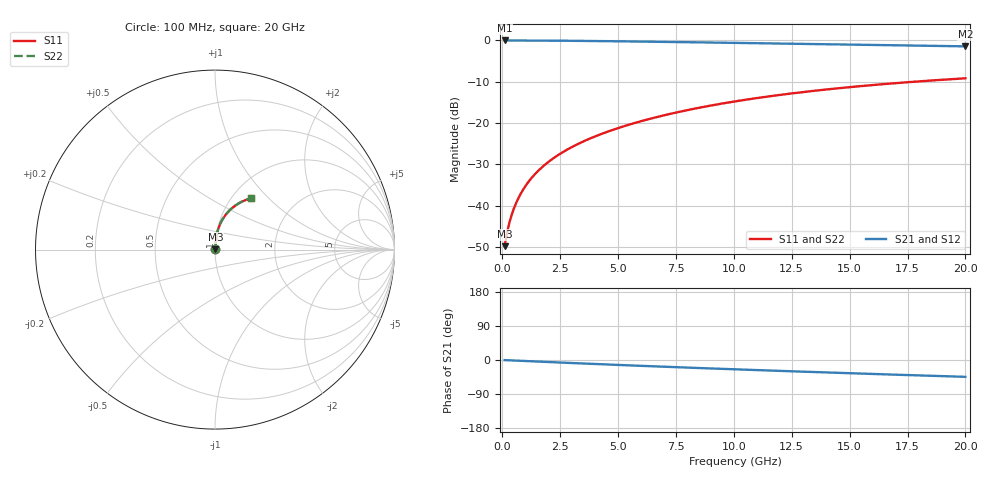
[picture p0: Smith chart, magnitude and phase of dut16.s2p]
! Touchstone file exported from HFSS 2024.1.0
!  File:  C:/UserFiles/LocalFiles/RDL_TSV_Batchsim/temp_RDL_bottom_16_1778691475.aedt
!  Generated:  01:00:31 AM May 14, 2026
!  Design:  RDL_bottom
!  Project:  temp_RDL_bottom_16_1778691475
!  Setup:  Setup1
!  Solution:  Sweep
! Variables:
!  dtsv = 10.80580581um
!  hbump = 3um
!  htsv = 78.53um
!  ldown = 683.56um
!  lrdl = 100um
!  p = 40
!  p1 = 44.62um
!  rhole = 1um
!  t = 450um
!  tdown = 4.55um
!  trdl = 3.915915916um
!  wdown = 22.1um
!  wrdl = 20um
# GHz S MA R 50.000000
! Terminal data exported
! Port[1] = RDL1_T1
! Port[2] = RDL1_T2
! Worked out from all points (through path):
!   200 points, 100 MHz to 20 GHz, reference 50 ohm
!   highest |S21| = -0.02 dB at 100 MHz (marker M1); lowest = -1.5 dB at 20 GHz (marker M2)
!   group delay of S21, straight-line fit = 6.12 ps
!   lowest |S11| = -49.8 dB at 100 MHz (marker M3), VSWR 1.01, Z = 50.3 + j0.192 ohm
!   |S11| at or under -10 dB: start of sweep to 17.83 GHz
!   |S22| runs from -49.8 to -9.2 dB; largest |S21 - S12| = 3.2e-15
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0.1  0.00322 36.3  0.9974 -0.3  0.9974 -0.3  0.00322 36.3
! Gamma 0 0 0 0
! Port Impedance 50 0 50 0
0.2  0.004612 53.0  0.9972 -0.6  0.9972 -0.6  0.004612 53.0
0.3  0.006111 61.3  0.997 -0.8  0.997 -0.8  0.006111 61.3
0.4  0.007636 66.5  0.9968 -1.1  0.9968 -1.1  0.007636 66.5
0.5  0.009185 70.1  0.9967 -1.4  0.9967 -1.4  0.009185 70.1
0.6  0.01076 72.7  0.9965 -1.6  0.9965 -1.6  0.01076 72.7
0.8  0.01396 76.3  0.9961 -2.2  0.9961 -2.2  0.01396 76.3
1.1  0.01885 79.4  0.9955 -3.0  0.9955 -3.0  0.01885 79.4
1.3  0.02215 80.6  0.995 -3.5  0.995 -3.5  0.02215 80.7
1.6  0.02714 81.9  0.9941 -4.3  0.9941 -4.3  0.02714 81.9
2.1  0.03556 83.1  0.9922 -5.6  0.9922 -5.6  0.03556 83.1
2.7  0.0458 83.7  0.9894 -7.2  0.9894 -7.2  0.04581 83.7
3.5  0.0597 83.8  0.9849 -9.3  0.9849 -9.3  0.05973 83.9
4.2  0.07213 83.6  0.9803 -11.0  0.9803 -11.0  0.07217 83.6
5  0.08663 83.0  0.9746 -13.0  0.9746 -13.0  0.08669 83.0
6.8  0.1203 80.8  0.9603 -17.3  0.9603 -17.3  0.1204 80.9
8.4  0.1508 78.2  0.9467 -21.0  0.9467 -21.0  0.151 78.3
10.1  0.1833 75.0  0.9319 -24.7  0.9319 -24.7  0.1835 75.1
11.7  0.2132 71.8  0.9178 -28.1  0.9178 -28.1  0.2135 71.9
13.4  0.2438 68.3  0.9029 -31.7  0.9029 -31.7  0.2442 68.4
16.7  0.2989 61.6  0.8741 -38.2  0.8741 -38.2  0.2995 61.7
20  0.3473 55.1  0.8462 -44.4  0.8462 -44.4  0.348 55.2
